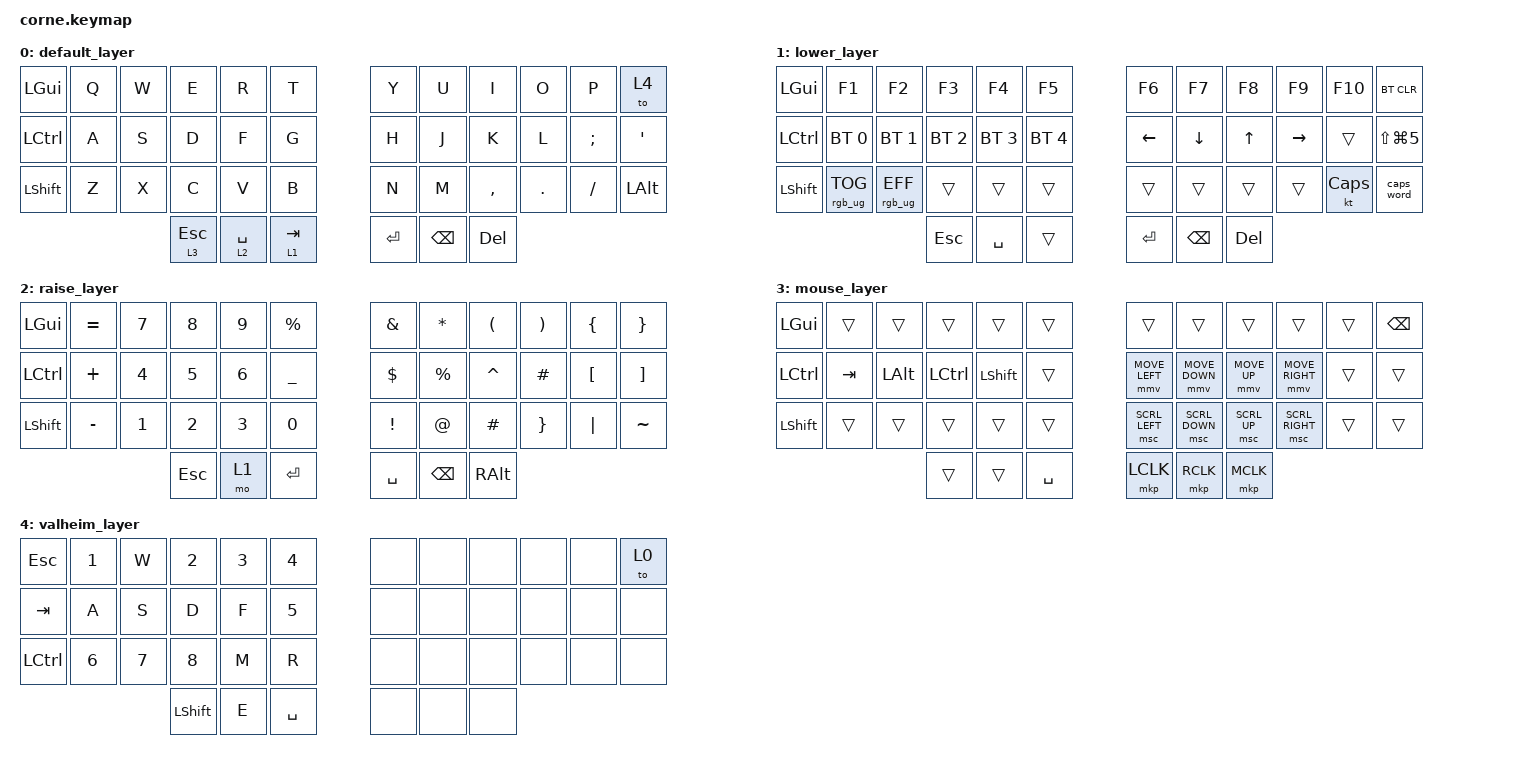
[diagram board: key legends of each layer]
/*
 * Copyright (c) 2020 The ZMK Contributors
 *
 * SPDX-License-Identifier: MIT
 */

#include <behaviors.dtsi>
#include <dt-bindings/zmk/keys.h>
#include <dt-bindings/zmk/bt.h>
#include <dt-bindings/zmk/rgb.h>
#include <dt-bindings/zmk/pointing.h>

&led_strip {
    chain-length = <27>;
};

&lt {
    tapping-term-ms = <300>; // This is the value already set by default
};

/ {
        keymap {
                compatible = "zmk,keymap";

               default_layer {
// -----------------------------------------------------------------------------------------
// |  GUI |  Q  |  W  |  E      |  R        |  T    |   |  Y  |  U   |  I  |  O  |  P  | LWR4|
// | CTRL |  A  |  S  |  D      |  F        |  G    |   |  H  |  J   |  K  |  L  |  ;  |  '  |
// | SHFT |  Z  |  X  |  C      |  V        |  B    |   |  N  |  M   |  ,  |  .  |  /  | ALT |
//                    | LWR3/ESC| RSE/SPACE |LWR/TAB|   | ENT | BSPC | DEL |
                        bindings = <
   &kp LGUI  &kp Q &kp W &kp E &kp R &kp T      &kp Y &kp U  &kp I     &kp O   &kp P    &to 4
   &kp LCTRL &kp A &kp S &kp D &kp F &kp G      &kp H &kp J  &kp K     &kp L   &kp SEMI &kp SQT
   &kp LSHFT &kp Z &kp X &kp C &kp V &kp B      &kp N &kp M  &kp COMMA &kp DOT &kp FSLH &kp LALT
        &lt 3 ESC   &lt 2 SPACE  &lt 1 TAB      &kp RET &kp BSPC &kp DEL
                        >;
                };
                lower_layer {
// -----------------------------------------------------------------------------------------
// |  GUI |  F1 |  F2 |  F3 |  F4 |  F5 |   |  F6 |  F7 |  F8 |  F9 | F10 | BTCLR|
// | CTRL | BT1 | BT2 | BT3 | BT4 | BT5 |   | LFT | DWN |  UP | RGT |     | PRS  |
// | SHFT | RGB | REFF|     |     |     |   |     |     |     |     |CAPNL| CWORD|
//                      |ESC|SPACE|     |   | ENT | BSPC | DEL |
                        bindings = <
   &kp LGUI   &kp F1       &kp F2       &kp F3       &kp F4       &kp F5         &kp F6   &kp F7   &kp F8 &kp F9    &kp F10 &bt BT_CLR  
   &kp LCTRL  &bt BT_SEL 0 &bt BT_SEL 1 &bt BT_SEL 2 &bt BT_SEL 3 &bt BT_SEL 4   &kp LEFT &kp DOWN &kp UP &kp RIGHT &trans  &kp LS(LG(N5))
   &kp LSHFT  &rgb_ug RGB_TOG      &rgb_ug RGB_EFF       &trans       &trans       &trans         &trans   &trans   &trans  &trans   &kt CAPS &caps_word
                                    &kp ESC   &kp SPACE  &trans     &kp RET &kp BSPC &kp DEL
                        >;
                };

                raise_layer {
// -----------------------------------------------------------------------------------------

// |  GUI | =   |  7  |  8  |  9  |  %  |   |  &  |  *  |  (  |  ) |  { |  }  |
// | CTRL |  +  |  4  |  5  |  6  |   _  |   |  $  |  %  |  ^  |  # |  [ |  ]  |
// | SHFT |  -  |  1  |  2  |  3  |   0 |   |  !  |  @  |  £  |  ) | "|"|  ~  |
//                    | ESC |     | ENT |   | SPC | BSPC | ALT | 
                        bindings = <
   &kp LGUI   &kp EQUAL &kp N7  &kp N8   &kp N9  &kp PRCNT    &kp AMPS  &kp ASTRK  &kp LPAR &kp RPAR  &kp LBRC &kp RBRC
   &kp LCTRL &kp PLUS  &kp N4  &kp N5   &kp N6   &kp UNDER      &kp DLLR  &kp PRCNT  &kp CARET &kp HASH &kp LBKT &kp RBKT
   &kp LSHFT &kp MINUS &kp N1  &kp N2   &kp N3   &kp N0      &kp EXCL  &kp AT     &kp HASH  &kp RBRC &kp PIPE &kp TILDE
                              &kp ESC  &mo 1    &kp RET      &kp SPACE &kp BSPC &kp RALT
                        >;
                };
                mouse_layer {
// -----------------------------------------------------------------------------------------
// |  GUI |      |      |      |      |      |   |      |      |      |      |      | BSPC |
// | CTRL |  TAB | ALT  |  CTR | SHIFT|      |   | LEFT | DOWN |  UP  | RIGHT|      |      |
// | SHFT |      |      |      |      |      |   | SCR← | SCR↓ | SCR↑ | SCR→ |      |      |
//                    |      |      | SPACE|   | LCLK | RCLK | MCLK |
// -----------------------------------------------------------------------------------------
                         bindings = <
        &kp LGUI   &trans &trans &trans &trans &trans      &trans &trans &trans &trans &trans &kp BSPC
        &kp LCTRL  &kp TAB &kp LALT &kp LCTRL &kp LSHFT &trans      &mmv MOVE_LEFT &mmv MOVE_DOWN &mmv MOVE_UP &mmv MOVE_RIGHT &trans &trans
        &kp LSHFT  &trans &trans &trans &trans &trans      &msc SCRL_LEFT &msc SCRL_DOWN &msc SCRL_UP &msc SCRL_RIGHT &trans &trans
                            &trans   &trans &kp SPACE    &mkp LCLK &mkp RCLK &mkp MCLK
                        >;
                };
                valheim_layer {
// -----------------------------------------------------------------------------------------
// | ESC  |  1  |  W  |  2  |  3  |  4  |   |      |      |      |      |      | LWR0 |
// | TAB  |  A  |  S  |  D  |  F  |  5  |   |      |      |      |      |      |      |
// | CTRL |  6  |  7  |  8  |  M  |  R  |   |      |      |      |      |      |      |
//                    | SHFT|  E | SPACE|   |      |      |      |
// -----------------------------------------------------------------------------------------
    bindings = <
        &kp ESC   &kp N1 &kp W  &kp N2 &kp N3 &kp N4    &none &none &none &none &none &to 0
        &kp TAB   &kp A  &kp S  &kp D  &kp F  &kp N5    &none &none &none &none &none &none
        &kp LCTRL &kp N6 &kp N7 &kp N8 &kp M  &kp R     &none &none &none &none &none &none
                         &kp LSHFT &kp E &kp SPACE     &none &none &none
                       >;
                };
        };
};
